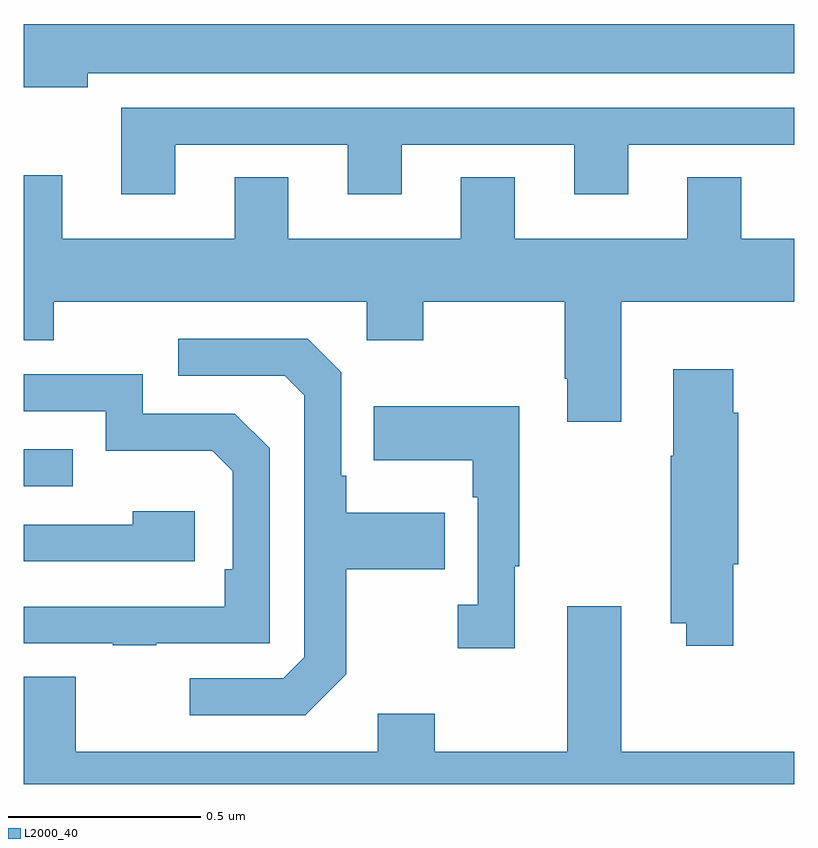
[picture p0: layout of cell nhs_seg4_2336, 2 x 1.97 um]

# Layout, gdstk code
import gdstk
lib = gdstk.Library(unit=1e-6, precision=1e-09)
def R(c, l, rs):  # rectangles x0, y0, x1, y1
    for r in rs: c.add(gdstk.rectangle(r[:2], r[2:], *l))
def P(c, l, *ps):  # polygons
    for p in ps: c.add(gdstk.Polygon(p, *l))
L2000_40 = (2000, 40)

nhs_seg4_2336 = lib.new_cell('nhs_seg4_2336')
R(nhs_seg4_2336, L2000_40, [(139,797.673,139.127,797.769)])
P(nhs_seg4_2336, L2000_40, [(139.165,798.746),(141,798.746),(141,798.874),(139,798.874),(139,798.71),(139.165,798.71)],
  [(139.393,798.561),(139.841,798.561),(139.841,798.432),(139.981,798.432),(139.981,798.561),(140.429,798.561),(140.429,798.432),(140.569,798.432),(140.569,798.561),(141,798.561),(141,798.657),(139.253,798.657),(139.253,798.432),(139.393,798.432)],
  [(140.551,798.152),(141,798.152),(141,798.316),(140.863,798.316),(140.863,798.476),(140.723,798.476),(140.723,798.316),(140.275,798.316),(140.275,798.476),(140.135,798.476),(140.135,798.316),(139.687,798.316),(139.687,798.476),(139.547,798.476),(139.547,798.316),(139.099,798.316),(139.099,798.481),(139,798.481),(139,798.053),(139.077,798.053),(139.077,798.152),(139.89,798.152),(139.89,798.053),(140.037,798.053),(140.037,798.152),(140.404,798.152),(140.404,797.953),(140.411,797.953),(140.411,797.841),(140.551,797.841)],
  [(139.837,797.185),(139.837,797.458),(140.093,797.458),(140.093,797.605),(139.837,797.605),(139.837,797.701),(139.824,797.701),(139.824,797.97),(139.737,798.057),(139.401,798.057),(139.401,797.961),(139.677,797.961),(139.728,797.91),(139.728,797.229),(139.674,797.175),(139.431,797.175),(139.431,797.079),(139.731,797.079)],
  [(140.842,797.471),(140.855,797.471),(140.855,797.864),(140.842,797.864),(140.842,797.977),(140.687,797.977),(140.687,797.753),(140.68,797.753),(140.68,797.318),(140.72,797.318),(140.72,797.259),(140.842,797.259)],
  [(139.343,797.265),(139.638,797.265),(139.638,797.772),(139.548,797.862),(139.308,797.862),(139.308,797.964),(139,797.964),(139,797.868),(139.212,797.868),(139.212,797.765),(139.489,797.765),(139.542,797.712),(139.542,797.458),(139.522,797.458),(139.522,797.361),(139,797.361),(139,797.265),(139.231,797.265),(139.231,797.26),(139.343,797.26)],
  [(140.275,797.465),(140.287,797.465),(140.287,797.881),(139.909,797.881),(139.909,797.741),(140.166,797.741),(140.166,797.645),(140.178,797.645),(140.178,797.366),(140.127,797.366),(140.127,797.253),(140.275,797.253)],
  [(139.444,797.608),(139.283,797.608),(139.283,797.574),(139,797.574),(139,797.478),(139.444,797.478)],
  [(141,796.984),(140.551,796.984),(140.551,797.362),(140.411,797.362),(140.411,796.984),(140.067,796.984),(140.067,797.083),(139.919,797.083),(139.919,796.984),(139.135,796.984),(139.135,797.179),(139,797.179),(139,796.9),(141,796.9)])

lib.write_gds('nhs_seg4_2336.gds')
